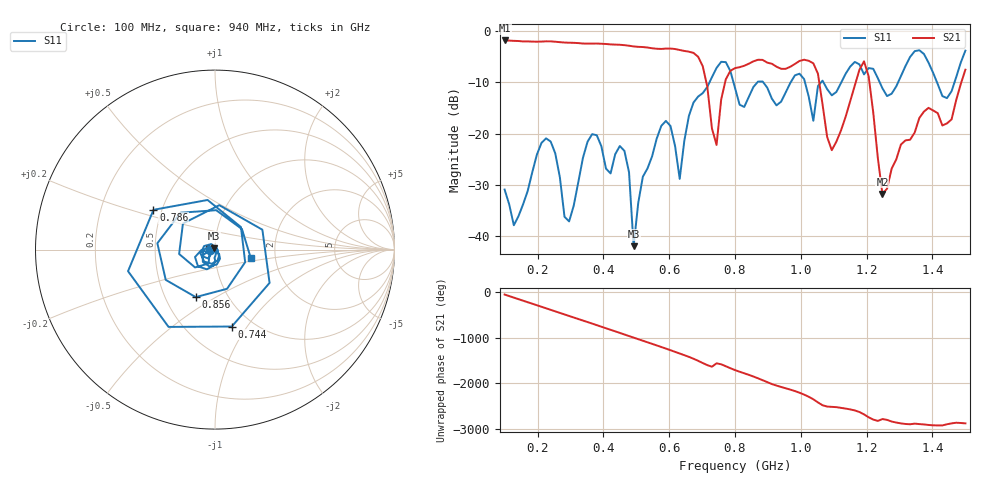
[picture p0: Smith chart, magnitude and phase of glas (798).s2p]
! NanoVNA-App
! Date: 2025-09-25 16:01:41
! Start: 100MHz Stop: 1,5GHz Points: 101
! S-Parameter data: F S11 S21 S12 S22
# Hz S RI R 50
!  Frequency  S11_Real  S11_Imag  S21_Real  S21_Imag  S12_Real  S12_Imag  S22_Real  S22_Imag
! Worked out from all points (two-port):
!   101 points, 100 MHz to 1.5 GHz, reference 50 ohm
!   highest |S21| = -1.80 dB at 100 MHz (marker M1); lowest = -31.8 dB at 1.248 GHz (marker M2)
!   |S21| within 3 dB of the highest: start of sweep to 684.5 MHz
!   lowest |S11| = -42.0 dB at 492 MHz (marker M3), VSWR 1.02, Z = 49.5 + j0.614 ohm
!   |S11| at or under -10 dB: start of sweep to 722.4 MHz; 795.4 MHz to 867.8 MHz (72.4 MHz wide, 8.71 % of centre); 886.2 MHz to 969 MHz (82.85 MHz wide, 8.93 % of centre) (the widest 3 of 7)
!   S12 and S22 are empty: the file has one direction only
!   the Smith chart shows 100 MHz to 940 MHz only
!   S11 on the Smith chart (normalised r, x): 100 MHz: 0.94, -0.01; 744 MHz: 0.80, -0.85; 786 MHz: 0.45, +0.24; 856 MHz: 0.71, -0.41; 940 MHz: 1.49, -0.15
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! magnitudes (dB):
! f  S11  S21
! 100 MHz  -30.9  -1.8
! 128 MHz  -37.9  -1.9
! 226 MHz  -20.9  -2.0
! 296 MHz  -37.1  -2.2
! 338 MHz  -24.7  -2.4
! 464 MHz  -23.4  -2.7
! 492 MHz  -42.0  -3.0
! 576 MHz  -18.5  -3.5
! 632 MHz  -28.9  -3.7
! 702 MHz  -12.1  -6.8
! 744 MHz  -7.2  -22.2
! 786 MHz  -7.8  -7.7
! 800 MHz  -11.1  -7.2
! 856 MHz  -10.9  -5.9
! 940 MHz  -13.8  -7.3
! 996 MHz  -8.3  -5.8
! 1.038 GHz  -17.5  -6.3
! 1.094 GHz  -12.5  -23.2
! 1.192 GHz  -8.4  -5.9
! 1.248 GHz  -11.2  -31.8
! 1.276 GHz  -12.2  -26.8
! 1.5 GHz  -3.8  -7.5
